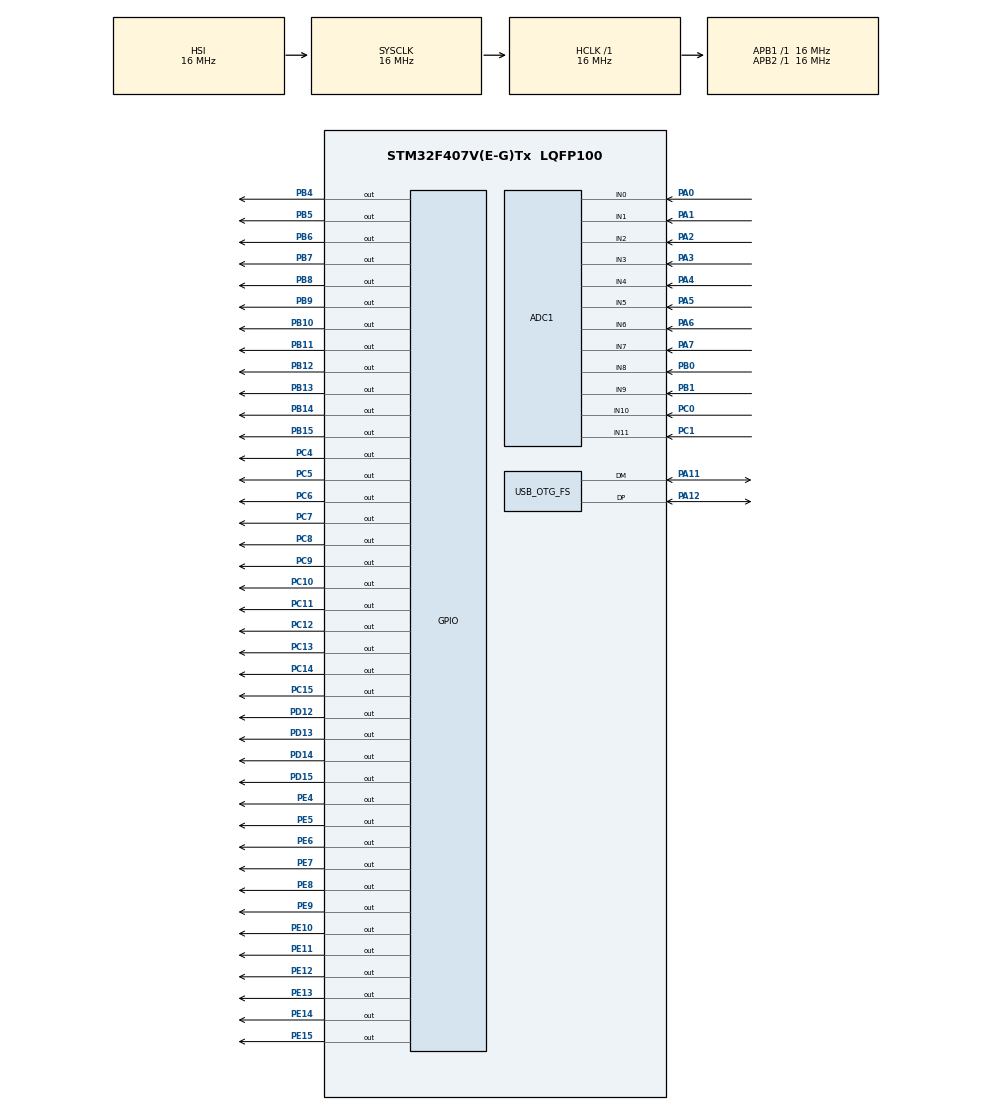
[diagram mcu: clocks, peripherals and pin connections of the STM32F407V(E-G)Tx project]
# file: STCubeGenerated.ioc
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ADC1.Channel-0\#ChannelRegularConversion=ADC_CHANNEL_0
ADC1.Channel-1\#ChannelRegularConversion=ADC_CHANNEL_1
ADC1.ContinuousConvMode=DISABLE
ADC1.DMAContinuousRequests=DISABLE
ADC1.NbrOfConversion=2
ADC1.NbrOfConversionFlag=1
ADC1.Rank-0\#ChannelRegularConversion=1
ADC1.Rank-1\#ChannelRegularConversion=2
ADC1.SamplingTime-0\#ChannelRegularConversion=ADC_SAMPLETIME_3CYCLES
ADC1.SamplingTime-1\#ChannelRegularConversion=ADC_SAMPLETIME_3CYCLES
ADC1.ScanConvMode=ENABLE
ADC1.master=1
ADC2.Channel-0\#ChannelRegularConversion=ADC_CHANNEL_0
ADC2.NbrOfConversionFlag=1
ADC2.Rank-0\#ChannelRegularConversion=1
ADC2.SamplingTime-0\#ChannelRegularConversion=ADC_SAMPLETIME_3CYCLES
Dma.ADC1.0.Direction=DMA_PERIPH_TO_MEMORY
Dma.ADC1.0.FIFOMode=DMA_FIFOMODE_DISABLE
Dma.ADC1.0.Instance=DMA2_Stream0
Dma.ADC1.0.MemDataAlignment=DMA_MDATAALIGN_WORD
Dma.ADC1.0.MemInc=DMA_MINC_ENABLE
Dma.ADC1.0.Mode=DMA_NORMAL
Dma.ADC1.0.PeriphDataAlignment=DMA_PDATAALIGN_WORD
Dma.ADC1.0.PeriphInc=DMA_PINC_DISABLE
Dma.ADC1.0.Priority=DMA_PRIORITY_MEDIUM
Dma.ADC2.1.Direction=DMA_PERIPH_TO_MEMORY
Dma.ADC2.1.FIFOMode=DMA_FIFOMODE_DISABLE
Dma.ADC2.1.Instance=DMA2_Stream2
Dma.ADC2.1.MemDataAlignment=DMA_MDATAALIGN_WORD
Dma.ADC2.1.MemInc=DMA_MINC_DISABLE
Dma.ADC2.1.Mode=DMA_NORMAL
Dma.ADC2.1.PeriphDataAlignment=DMA_PDATAALIGN_WORD
Dma.ADC2.1.PeriphInc=DMA_PINC_DISABLE
Dma.ADC2.1.Priority=DMA_PRIORITY_MEDIUM
Dma.Request0=ADC1
Dma.Request1=ADC2
Mcu.Family=STM32F4
Mcu.Name=STM32F407V(E-G)Tx
Mcu.Package=LQFP100
NVIC.DMA2_Stream0_IRQn=true\:0\:0\:false\:false\:true\:false\:true
NVIC.DMA2_Stream2_IRQn=true\:0\:0\:false\:false\:true\:false\:true
NVIC.OTG_FS_IRQn=true\:0\:0\:false\:false\:true\:false\:true
NVIC.PriorityGroup=NVIC_PRIORITYGROUP_4
PA0-WKUP.Signal=ADCx_IN0
PA1.Signal=ADCx_IN1
PA11.Mode=Device_Only
PA11.Signal=USB_OTG_FS_DM
PA12.Mode=Device_Only
PA12.Signal=USB_OTG_FS_DP
PA2.Signal=ADCx_IN2
PA3.Signal=ADCx_IN3
PA4.Signal=ADCx_IN4
PA5.Signal=ADCx_IN5
PA6.Signal=ADCx_IN6
PA7.Signal=ADCx_IN7
PB0.Signal=ADCx_IN8
PB1.Signal=ADCx_IN9
PB10.Signal=GPIO_Output
PB11.Signal=GPIO_Output
PB12.Signal=GPIO_Output
PB13.Signal=GPIO_Output
PB14.Signal=GPIO_Output
PB15.Signal=GPIO_Output
PB4.Signal=GPIO_Output
PB5.Signal=GPIO_Output
PB6.Signal=GPIO_Output
PB7.Signal=GPIO_Output
PB8.Signal=GPIO_Output
PB9.Signal=GPIO_Output
PC0.Signal=ADCx_IN10
PC1.Signal=ADCx_IN11
PC10.Signal=GPIO_Output
PC11.Signal=GPIO_Output
PC12.Signal=GPIO_Output
PC13-ANTI_TAMP.Signal=GPIO_Output
PC14-OSC32_IN.Signal=GPIO_Output
PC15-OSC32_OUT.Signal=GPIO_Output
PC4.Signal=GPIO_Output
PC5.Signal=GPIO_Output
PC6.Signal=GPIO_Output
PC7.Signal=GPIO_Output
PC8.Signal=GPIO_Output
PC9.Signal=GPIO_Output
PD12.Signal=GPIO_Output
PD13.Signal=GPIO_Output
PD14.Signal=GPIO_Output
PD15.Signal=GPIO_Output
PE10.Signal=GPIO_Output
PE11.Signal=GPIO_Output
PE12.Signal=GPIO_Output
PE13.Signal=GPIO_Output
PE14.Signal=GPIO_Output
PE15.Signal=GPIO_Output
PE4.Signal=GPIO_Output
PE5.Signal=GPIO_Output
PE6.Signal=GPIO_Output
PE7.Signal=GPIO_Output
PE8.Signal=GPIO_Output
PE9.Signal=GPIO_Output
PH0-OSC_IN.Mode=HSE-External-Oscillator
PH0-OSC_IN.Signal=RCC_OSC_IN
PH1-OSC_OUT.Mode=HSE-External-Oscillator
PH1-OSC_OUT.Signal=RCC_OSC_OUT
ProjectManager.HeapSize=0x200
ProjectManager.StackSize=0x400
ProjectManager.TargetToolchain=MDK-ARM V5
RCC.48MHZClocksFreq_Value=48000000
RCC.AHBFreq_Value=16000000
RCC.APB1Freq_Value=16000000
RCC.APB2Freq_Value=16000000
RCC.CortexFreq_Value=16000000
RCC.HSE_VALUE=8000000
RCC.HSI_VALUE=16000000
RCC.LSE_VALUE=32768
RCC.PLLM=4
RCC.PLLN=72
RCC.PLLQ=3
RCC.SYSCLKFreq_VALUE=16000000
RCC.VCOOutputFreq_Value=144000000
SH.ADCx_IN0.0=ADC1_IN0,IN0
SH.ADCx_IN0.1=ADC2_IN0,IN0
SH.ADCx_IN1.0=ADC1_IN1,IN1
SH.ADCx_IN1.1=ADC2_IN1,IN1
SH.ADCx_IN10.0=ADC1_IN10,IN10
SH.ADCx_IN10.1=ADC2_IN10,IN10
SH.ADCx_IN11.0=ADC1_IN11,IN11
SH.ADCx_IN11.1=ADC2_IN11,IN11
SH.ADCx_IN2.0=ADC1_IN2,IN2
SH.ADCx_IN2.1=ADC2_IN2,IN2
SH.ADCx_IN3.0=ADC1_IN3,IN3
SH.ADCx_IN3.1=ADC2_IN3,IN3
SH.ADCx_IN4.0=ADC1_IN4,IN4
SH.ADCx_IN4.1=ADC2_IN4,IN4
SH.ADCx_IN5.0=ADC1_IN5,IN5
SH.ADCx_IN5.1=ADC2_IN5,IN5
SH.ADCx_IN6.0=ADC1_IN6,IN6
SH.ADCx_IN6.1=ADC2_IN6,IN6
SH.ADCx_IN7.0=ADC1_IN7,IN7
SH.ADCx_IN7.1=ADC2_IN7,IN7
SH.ADCx_IN8.0=ADC1_IN8,IN8
SH.ADCx_IN8.1=ADC2_IN8,IN8
SH.ADCx_IN9.0=ADC1_IN9,IN9
SH.ADCx_IN9.1=ADC2_IN9,IN9
USB_DEVICE.APP_RX_DATA_SIZE-CDC_FS=256
USB_DEVICE.APP_TX_DATA_SIZE-CDC_FS=256
USB_DEVICE.CLASS_NAME_FS=CDC
USB_DEVICE.USBD_MAX_STR_DESC_SIZ-CDC_FS=1024
USB_DEVICE.VirtualMode-CDC_FS=Cdc
USB_DEVICE.VirtualModeFS=Cdc_FS
USB_OTG_FS.VirtualMode=Device_Only
VP_USB_DEVICE_VS_USB_DEVICE_CDC_FS.Mode=CDC_FS
board=custom

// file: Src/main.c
/* USER CODE BEGIN Header */
/**
  ******************************************************************************
  * @file           : main.c
  * @brief          : Main program body
  ******************************************************************************
  * @attention
  *
  * <h2><center>&copy; Copyright (c) 2019 STMicroelectronics.
  * All rights reserved.</center></h2>
  *
  * This software component is licensed by ST under Ultimate Liberty license
  * SLA0044, the "License"; You may not use this file except in compliance with
  * the License. You may obtain a copy of the License at:
  *                             www.st.com/SLA0044
  *
  ******************************************************************************
  */
/* USER CODE END Header */

#include "main.h"
#include <stdio.h>
#include "usb_device.h"

ADC_HandleTypeDef hadc1;
ADC_HandleTypeDef hadc2;
DMA_HandleTypeDef hdma_adc1;
DMA_HandleTypeDef hdma_adc2;

/* USER CODE BEGIN PV */
uint32_t adc1Value[2];
uint32_t adc2Value[2];
uint32_t adcValueForSend[3];

char str_tx[30];
//uint32_t adc1Value_16[2];
/* USER CODE END PV */

void SystemClock_Config(void);
static void MX_GPIO_Init(void);
static void MX_DMA_Init(void);
static void MX_ADC1_Init(void);
static void MX_ADC2_Init(void);
/* USER CODE BEGIN PFP */
void Delay(uint32_t Val);
void changeChannel(uint32_t ch, uint32_t pin);
uint8_t CDC_Transmit_FS(uint8_t* Buf, uint16_t Len);
void changeCoupling(uint32_t pin, uint32_t coup);
void changeProbe(uint32_t pin, uint32_t probe);
void applySettings(uint8_t* settings);
/* USER CODE END PFP */

/* USER CODE BEGIN 0 */
#define ITM_Port8(n) (*((volatile unsigned char *)(0xE0000000+4*n)))
#define ITM_Port16(n) (*((volatile unsigned short *)(0xE0000000+4*n)))
#define ITM_Port32(n) (*((volatile unsigned long *)(0xE0000000+4*n)))

#define DEMCR (*((volatile unsigned long *)(0xE000EDFC)))
#define TRCENA 0x01000000

struct __FILE{int handle;};
FILE __stdout;
FILE __stdin;

int fputc(int ch, FILE *f){
	if (DEMCR & TRCENA){
		while (ITM_Port32(0) == 0);
		ITM_Port8(0) = ch;
	}
	return(ch);
}
/* USER CODE END 0 */

int main(void)
{

  /* MCU Configuration--------------------------------------------------------*/

  /* Reset of all peripherals, Initializes the Flash interface and the Systick. */
  HAL_Init();

  /* Configure the system clock */
  SystemClock_Config();

  /* Initialize all configured peripherals */
  MX_GPIO_Init();
  MX_DMA_Init();
  MX_ADC1_Init();
  MX_ADC2_Init();
  MX_USB_DEVICE_Init();
  /* USER CODE BEGIN 2 */
	char h[4] = "0000";
//	HAL_ADC_Start_DMA(&hadc1, adc1Value, 2);
	printf("0000-%d\n\r", h[0]);
  uint8_t is_transmission_on = 0;
  /* USER CODE END 2 */

  /* Infinite loop */
  /* USER CODE BEGIN WHILE */
	changeChannel(0, 8);
	changeChannel(1, 9);
	changeChannel(2, 10);
	changeChannel(3, 11);
  while (1)
  {
		//HAL_GPIO_WritePin(GPIOD, GPIO_PIN_14, GPIO_PIN_SET);

		//MX_USB_DEVICE_Init();
//		while(1)
//		{
		//HAL_GPIO_WritePin(GPIOD, GPIO_PIN_12, GPIO_PIN_SET);
		//HAL_Delay(100);
		//HAL_GPIO_WritePin(GPIOD, GPIO_PIN_12, GPIO_PIN_RESET);
		//HAL_Delay(100);
//		};
//		if (is_transmission_on == 0)
//		{
//			continue;
//		}
		HAL_Delay(1);

//		adc1Value_16[0]=adc1Value[0];
//		adc1Value_16[1]=adc1Value[1];
		HAL_ADC_Start_DMA(&hadc1, adc1Value, 2);
		HAL_ADC_ConvCpltCallback(&hadc1);
		HAL_ADC_ConvCpltCallback(&hadc1);
		HAL_ADC_Stop_DMA(&hadc1);
		HAL_ADC_Start_DMA(&hadc2, adc2Value, 2);
		HAL_ADC_ConvCpltCallback(&hadc2);
		HAL_ADC_ConvCpltCallback(&hadc2);
		HAL_ADC_Stop_DMA(&hadc2);

//		if (adc1Value[0] > adc2Value[1]){
//			adc2Value[0] = adc1Value[0] - adc2Value[1];
//		}
//		else{
//			adc2Value[0] = adc2Value[1] - adc2Value[0];
//			adc2Value[0] += 32768;
//		}

		adcValueForSend[0] = adc1Value[0];
		adcValueForSend[1] = adc2Value[0];
		adcValueForSend[0] += adc1Value[1]*65536;
		adcValueForSend[1] += adc2Value[1]*65536;
		//adcValueForSend[2] = 1;

//		CDC_Transmit_FS((uint8_t*)str_tx, strlen(str_tx));
		CDC_Transmit_FS((uint8_t*)adcValueForSend, 8);
//		if (adc1Value[0]<0x333){
//			GPIOD->ODR = 0x0000;
//		} else if (adc1Value[1]<0x666){
//			GPIOD->ODR = 0x1000;
//		} else if (adc1Value[1]<0x999){
//			GPIOD->ODR = 0x3000;
//		} else if (adc1Value[1]<0xCCC){
//			GPIOD->ODR = 0x7000;
//		} else GPIOD->ODR = 0xf000;

    /* USER CODE END WHILE */

    /* USER CODE BEGIN 3 */
  }
	int a = 0;
  /* USER CODE END 3 */
}

void SystemClock_Config(void)
{
  RCC_OscInitTypeDef RCC_OscInitStruct = {0};
  RCC_ClkInitTypeDef RCC_ClkInitStruct = {0};

  /** Configure the main internal regulator output voltage
  */
  __HAL_RCC_PWR_CLK_ENABLE();
  __HAL_PWR_VOLTAGESCALING_CONFIG(PWR_REGULATOR_VOLTAGE_SCALE1);
  /** Initializes the CPU, AHB and APB busses clocks
  */
  RCC_OscInitStruct.OscillatorType = RCC_OSCILLATORTYPE_HSI|RCC_OSCILLATORTYPE_HSE;
  RCC_OscInitStruct.HSEState = RCC_HSE_ON;
  RCC_OscInitStruct.HSIState = RCC_HSI_ON;
  RCC_OscInitStruct.HSICalibrationValue = RCC_HSICALIBRATION_DEFAULT;
  RCC_OscInitStruct.PLL.PLLState = RCC_PLL_ON;
  RCC_OscInitStruct.PLL.PLLSource = RCC_PLLSOURCE_HSE;
  RCC_OscInitStruct.PLL.PLLM = 4;
  RCC_OscInitStruct.PLL.PLLN = 72;
  RCC_OscInitStruct.PLL.PLLP = RCC_PLLP_DIV2;
  RCC_OscInitStruct.PLL.PLLQ = 3;
  if (HAL_RCC_OscConfig(&RCC_OscInitStruct) != HAL_OK)
  {
    Error_Handler();
  }
  /** Initializes the CPU, AHB and APB busses clocks
  */
  RCC_ClkInitStruct.ClockType = RCC_CLOCKTYPE_HCLK|RCC_CLOCKTYPE_SYSCLK
                              |RCC_CLOCKTYPE_PCLK1|RCC_CLOCKTYPE_PCLK2;
  RCC_ClkInitStruct.SYSCLKSource = RCC_SYSCLKSOURCE_HSI;
  RCC_ClkInitStruct.AHBCLKDivider = RCC_SYSCLK_DIV1;
  RCC_ClkInitStruct.APB1CLKDivider = RCC_HCLK_DIV1;
  RCC_ClkInitStruct.APB2CLKDivider = RCC_HCLK_DIV1;

  if (HAL_RCC_ClockConfig(&RCC_ClkInitStruct, FLASH_LATENCY_0) != HAL_OK)
  {
    Error_Handler();
  }
}

static void MX_ADC1_Init(void)
{

  ADC_ChannelConfTypeDef sConfig = {0};

  /** Configure the global features of the ADC (Clock, Resolution, Data Alignment and number of conversion)
  */
  hadc1.Instance = ADC1;
  hadc1.Init.ClockPrescaler = ADC_CLOCK_SYNC_PCLK_DIV2;
  hadc1.Init.Resolution = ADC_RESOLUTION_12B;
  hadc1.Init.ScanConvMode = ENABLE;
  hadc1.Init.ContinuousConvMode = DISABLE;
  hadc1.Init.DiscontinuousConvMode = DISABLE;
  hadc1.Init.ExternalTrigConvEdge = ADC_EXTERNALTRIGCONVEDGE_NONE;
  hadc1.Init.ExternalTrigConv = ADC_SOFTWARE_START;
  hadc1.Init.DataAlign = ADC_DATAALIGN_RIGHT;
  hadc1.Init.NbrOfConversion = 2;
  hadc1.Init.DMAContinuousRequests = DISABLE;
  hadc1.Init.EOCSelection = ADC_EOC_SINGLE_CONV;
  if (HAL_ADC_Init(&hadc1) != HAL_OK)
  {
    Error_Handler();
  }
  /** Configure for the selected ADC regular channel its corresponding rank in the sequencer and its sample time.
  */
  sConfig.Channel = ADC_CHANNEL_0;
  sConfig.Rank = 1;
  sConfig.SamplingTime = ADC_SAMPLETIME_3CYCLES;
  if (HAL_ADC_ConfigChannel(&hadc1, &sConfig) != HAL_OK)
  {
    Error_Handler();
  }
  /** Configure for the selected ADC regular channel its corresponding rank in the sequencer and its sample time.
  */
  sConfig.Channel = ADC_CHANNEL_3;
  sConfig.Rank = 2;
  if (HAL_ADC_ConfigChannel(&hadc1, &sConfig) != HAL_OK)
  {
    Error_Handler();
  }

}

static void MX_ADC2_Init(void)
{

  ADC_ChannelConfTypeDef sConfig = {0};

  /** Configure the global features of the ADC (Clock, Resolution, Data Alignment and number of conversion)
  */
  hadc2.Instance = ADC2;
  hadc2.Init.ClockPrescaler = ADC_CLOCK_SYNC_PCLK_DIV2;
  hadc2.Init.Resolution = ADC_RESOLUTION_12B;
  hadc2.Init.ScanConvMode = ENABLE;
  hadc2.Init.ContinuousConvMode = DISABLE;
  hadc2.Init.DiscontinuousConvMode = DISABLE;
  hadc2.Init.ExternalTrigConvEdge = ADC_EXTERNALTRIGCONVEDGE_NONE;
  hadc2.Init.ExternalTrigConv = ADC_SOFTWARE_START;
  hadc2.Init.DataAlign = ADC_DATAALIGN_RIGHT;
  hadc2.Init.NbrOfConversion = 2;
  hadc2.Init.DMAContinuousRequests = DISABLE;
  hadc2.Init.EOCSelection = ADC_EOC_SINGLE_CONV;
  if (HAL_ADC_Init(&hadc2) != HAL_OK)
  {
    Error_Handler();
  }
  /** Configure for the selected ADC regular channel its corresponding rank in the sequencer and its sample time.
  */
  sConfig.Channel = ADC_CHANNEL_7;
  sConfig.Rank = 1;
  sConfig.SamplingTime = ADC_SAMPLETIME_3CYCLES;
  if (HAL_ADC_ConfigChannel(&hadc2, &sConfig) != HAL_OK)
  {
    Error_Handler();
  }
  /* USER CODE BEGIN ADC2_Init 2 */
	sConfig.Channel = ADC_CHANNEL_11;
  sConfig.Rank = 2;
  if (HAL_ADC_ConfigChannel(&hadc2, &sConfig) != HAL_OK)
  {
    Error_Handler();
  }
  /* USER CODE END ADC2_Init 2 */

}

static void MX_DMA_Init(void)
{
  /* DMA controller clock enable */
  __HAL_RCC_DMA2_CLK_ENABLE();

  /* DMA interrupt init */
  /* DMA2_Stream0_IRQn interrupt configuration */
  HAL_NVIC_SetPriority(DMA2_Stream0_IRQn, 0, 0);
  HAL_NVIC_EnableIRQ(DMA2_Stream0_IRQn);
  /* DMA2_Stream2_IRQn interrupt configuration */
  HAL_NVIC_SetPriority(DMA2_Stream2_IRQn, 0, 0);
  HAL_NVIC_EnableIRQ(DMA2_Stream2_IRQn);

}

static void MX_GPIO_Init(void)
{
  GPIO_InitTypeDef GPIO_InitStruct = {0};

  /* GPIO Ports Clock Enable */
  __HAL_RCC_GPIOE_CLK_ENABLE();
  __HAL_RCC_GPIOC_CLK_ENABLE();
  __HAL_RCC_GPIOH_CLK_ENABLE();
  __HAL_RCC_GPIOA_CLK_ENABLE();
  __HAL_RCC_GPIOB_CLK_ENABLE();
  __HAL_RCC_GPIOD_CLK_ENABLE();

  /*Configure GPIO pin Output Level */
  HAL_GPIO_WritePin(GPIOE, GPIO_PIN_4|GPIO_PIN_5|GPIO_PIN_6|GPIO_PIN_7
                          |GPIO_PIN_8|GPIO_PIN_9|GPIO_PIN_10|GPIO_PIN_11
                          |GPIO_PIN_12|GPIO_PIN_13|GPIO_PIN_14|GPIO_PIN_15, GPIO_PIN_RESET);

  /*Configure GPIO pin Output Level */
  HAL_GPIO_WritePin(GPIOC, GPIO_PIN_13|GPIO_PIN_14|GPIO_PIN_15|GPIO_PIN_4
                          |GPIO_PIN_5|GPIO_PIN_6|GPIO_PIN_7|GPIO_PIN_8
                          |GPIO_PIN_9|GPIO_PIN_10|GPIO_PIN_11|GPIO_PIN_12, GPIO_PIN_RESET);

  /*Configure GPIO pin Output Level */
  HAL_GPIO_WritePin(GPIOB, GPIO_PIN_10|GPIO_PIN_11|GPIO_PIN_12|GPIO_PIN_13
                          |GPIO_PIN_14|GPIO_PIN_15|GPIO_PIN_4|GPIO_PIN_5
                          |GPIO_PIN_6|GPIO_PIN_7|GPIO_PIN_8|GPIO_PIN_9, GPIO_PIN_RESET);

  /*Configure GPIO pin Output Level */
  HAL_GPIO_WritePin(GPIOD, GPIO_PIN_12|GPIO_PIN_13|GPIO_PIN_14|GPIO_PIN_15, GPIO_PIN_RESET);

  /*Configure GPIO pins : PE4 PE5 PE6 PE7
                           PE8 PE9 PE10 PE11
                           PE12 PE13 PE14 PE15 */
  GPIO_InitStruct.Pin = GPIO_PIN_4|GPIO_PIN_5|GPIO_PIN_6|GPIO_PIN_7
                          |GPIO_PIN_8|GPIO_PIN_9|GPIO_PIN_10|GPIO_PIN_11
                          |GPIO_PIN_12|GPIO_PIN_13|GPIO_PIN_14|GPIO_PIN_15;
  GPIO_InitStruct.Mode = GPIO_MODE_OUTPUT_PP;
  GPIO_InitStruct.Pull = GPIO_NOPULL;
  GPIO_InitStruct.Speed = GPIO_SPEED_FREQ_LOW;
  HAL_GPIO_Init(GPIOE, &GPIO_InitStruct);

  /*Configure GPIO pins : PC13 PC14 PC15 PC4
                           PC5 PC6 PC7 PC8
                           PC9 PC10 PC11 PC12 */
  GPIO_InitStruct.Pin = GPIO_PIN_13|GPIO_PIN_14|GPIO_PIN_15|GPIO_PIN_4
                          |GPIO_PIN_5|GPIO_PIN_6|GPIO_PIN_7|GPIO_PIN_8
                          |GPIO_PIN_9|GPIO_PIN_10|GPIO_PIN_11|GPIO_PIN_12;
  GPIO_InitStruct.Mode = GPIO_MODE_OUTPUT_PP;
  GPIO_InitStruct.Pull = GPIO_NOPULL;
  GPIO_InitStruct.Speed = GPIO_SPEED_FREQ_LOW;
  HAL_GPIO_Init(GPIOC, &GPIO_InitStruct);

  /*Configure GPIO pins : PB10 PB11 PB12 PB13
                           PB14 PB15 PB4 PB5
                           PB6 PB7 PB8 PB9 */
  GPIO_InitStruct.Pin = GPIO_PIN_10|GPIO_PIN_11|GPIO_PIN_12|GPIO_PIN_13
                          |GPIO_PIN_14|GPIO_PIN_15|GPIO_PIN_4|GPIO_PIN_5
                          |GPIO_PIN_6|GPIO_PIN_7|GPIO_PIN_8|GPIO_PIN_9;
  GPIO_InitStruct.Mode = GPIO_MODE_OUTPUT_PP;
  GPIO_InitStruct.Pull = GPIO_NOPULL;
  GPIO_InitStruct.Speed = GPIO_SPEED_FREQ_LOW;
  HAL_GPIO_Init(GPIOB, &GPIO_InitStruct);

  /*Configure GPIO pins : PD12 PD13 PD14 PD15 */
  GPIO_InitStruct.Pin = GPIO_PIN_12|GPIO_PIN_13|GPIO_PIN_14|GPIO_PIN_15;
  GPIO_InitStruct.Mode = GPIO_MODE_OUTPUT_PP;
  GPIO_InitStruct.Pull = GPIO_NOPULL;
  GPIO_InitStruct.Speed = GPIO_SPEED_FREQ_LOW;
  HAL_GPIO_Init(GPIOD, &GPIO_InitStruct);

}

/* USER CODE BEGIN 4 */
void Delay(uint32_t Val)
{
	for (; Val != 0; Val--);
}

void changeChannel(uint32_t ch, uint32_t pin)
{
	ADC_ChannelConfTypeDef sConfig = {0};
	ADC_HandleTypeDef* this_hadc;
	sConfig.SamplingTime = ADC_SAMPLETIME_3CYCLES;
	switch (ch)
	{
		case 0:
		{
			sConfig.Rank = 1;
			this_hadc = &hadc1;
			break;
		}
		case 1:
		{
			sConfig.Rank = 2;
			this_hadc = &hadc1;
			break;
		}
		case 2:
		{
			sConfig.Rank = 1;
			this_hadc = &hadc2;
			break;
		}
		case 3:
		{
			sConfig.Rank = 2;
			this_hadc = &hadc2;
			break;
		}
	}
	switch (pin)
	{
		case 0:
		{
			sConfig.Channel = ADC_CHANNEL_0;
			break;
		}
		case 1:
		{
			sConfig.Channel = ADC_CHANNEL_1;
			break;
		}
		case 2:
		{
			sConfig.Channel = ADC_CHANNEL_2;
			break;
		}
		case 3:
		{
			sConfig.Channel = ADC_CHANNEL_3;
			break;
		}
		case 4:
		{
			sConfig.Channel = ADC_CHANNEL_4;
			break;
		}
		case 5:
		{
			sConfig.Channel = ADC_CHANNEL_5;
			break;
		}
		case 6:
		{
			sConfig.Channel = ADC_CHANNEL_6;
			break;
		}
		case 7:
		{
			sConfig.Channel = ADC_CHANNEL_7;
			break;
		}
		case 8:
		{
			sConfig.Channel = ADC_CHANNEL_8;
			break;
		}
		case 9:
		{
			sConfig.Channel = ADC_CHANNEL_9;
			break;
		}
		case 10:
		{
			sConfig.Channel = ADC_CHANNEL_10;
			break;
		}
		case 11:
		{
			sConfig.Channel = ADC_CHANNEL_11;
			break;
		}
	}
	if (HAL_ADC_ConfigChannel(this_hadc, &sConfig) != HAL_OK)
  {
    Error_Handler();
  }
}
void changeProbe(uint32_t pin, uint32_t probe) // probe is 0, 1, 2 or 3
{
	uint32_t* dprobe;
	pin = pin + 4;
	switch (probe)
	{
		case 0:{
			dprobe[0] = 0; dprobe[1] = 0;
			break;
		}
		case 1:{
			dprobe[0] = 0; dprobe[1] = 1;
			break;
		}
		case 2:{
			dprobe[0] = 1; dprobe[1] = 0;
			break;
		}
		case 3:{
			dprobe[0] = 1; dprobe[1] = 1;
			break;
		}
	}
	switch (pin)
	{
		case 4:{
			HAL_GPIO_WritePin(GPIOC, GPIO_PIN_4, dprobe[1]);
			HAL_GPIO_WritePin(GPIOE, GPIO_PIN_4, dprobe[0]);
			break;
		}
		case 5:{
			HAL_GPIO_WritePin(GPIOC, GPIO_PIN_5, dprobe[1]);
			HAL_GPIO_WritePin(GPIOE, GPIO_PIN_5, dprobe[0]);
			break;
		}
		case 6:{
			HAL_GPIO_WritePin(GPIOC, GPIO_PIN_6, dprobe[1]);
			HAL_GPIO_WritePin(GPIOE, GPIO_PIN_6, dprobe[0]);
			break;
		}
		case 7:{
			HAL_GPIO_WritePin(GPIOC, GPIO_PIN_7, dprobe[1]);
			HAL_GPIO_WritePin(GPIOE, GPIO_PIN_7, dprobe[0]);
			break;
		}
		case 8:{
			HAL_GPIO_WritePin(GPIOC, GPIO_PIN_8, dprobe[1]);
			HAL_GPIO_WritePin(GPIOE, GPIO_PIN_8, dprobe[0]);
			break;
		}
		case 9:{
			HAL_GPIO_WritePin(GPIOC, GPIO_PIN_9, dprobe[1]);
			HAL_GPIO_WritePin(GPIOE, GPIO_PIN_9, dprobe[0]);
			break;
		}
		case 10:{
			HAL_GPIO_WritePin(GPIOC, GPIO_PIN_10, dprobe[1]);
			HAL_GPIO_WritePin(GPIOE, GPIO_PIN_10, dprobe[0]);
			break;
		}
		case 11:{
			HAL_GPIO_WritePin(GPIOC, GPIO_PIN_11, dprobe[1]);
			HAL_GPIO_WritePin(GPIOE, GPIO_PIN_11, dprobe[0]);
			break;
		}
		case 12:{
			HAL_GPIO_WritePin(GPIOC, GPIO_PIN_12, dprobe[1]);
			HAL_GPIO_WritePin(GPIOE, GPIO_PIN_12, dprobe[0]);
			break;
		}
		case 13:{
			HAL_GPIO_WritePin(GPIOC, GPIO_PIN_13, dprobe[1]);
			HAL_GPIO_WritePin(GPIOE, GPIO_PIN_13, dprobe[0]);
			break;
		}
		case 14:{
			HAL_GPIO_WritePin(GPIOC, GPIO_PIN_14, dprobe[1]);
			HAL_GPIO_WritePin(GPIOE, GPIO_PIN_14, dprobe[0]);
			break;
		}
		case 15:{
			HAL_GPIO_WritePin(GPIOC, GPIO_PIN_15, dprobe[1]);
			HAL_GPIO_WritePin(GPIOE, GPIO_PIN_15, dprobe[0]);
			break;
		}
	}
}

void changeCoupling(uint32_t pin, uint32_t coup)
{
	pin = pin + 4;
	switch (pin)
	{
		case 4:{
			HAL_GPIO_WritePin(GPIOB, GPIO_PIN_4, coup);
			break;
		}
		case 5:{
			HAL_GPIO_WritePin(GPIOB, GPIO_PIN_5, coup);
			break;
		}
		case 6:{
			HAL_GPIO_WritePin(GPIOB, GPIO_PIN_6, coup);
			break;
		}
		case 7:{
			HAL_GPIO_WritePin(GPIOB, GPIO_PIN_7, coup);
			break;
		}
		case 8:{
			HAL_GPIO_WritePin(GPIOB, GPIO_PIN_8, coup);
			break;
		}
		case 9:{
			HAL_GPIO_WritePin(GPIOB, GPIO_PIN_9, coup);
			break;
		}
		case 10:{
			HAL_GPIO_WritePin(GPIOB, GPIO_PIN_10, coup);
			break;
		}
		case 11:{
			HAL_GPIO_WritePin(GPIOB, GPIO_PIN_11, coup);
			break;
		}
		case 12:{
			HAL_GPIO_WritePin(GPIOB, GPIO_PIN_12, coup);
			break;
		}
		case 13:{
			HAL_GPIO_WritePin(GPIOB, GPIO_PIN_13, coup);
			break;
		}
		case 14:{
			HAL_GPIO_WritePin(GPIOB, GPIO_PIN_14, coup);
			break;
		}
		case 15:{
			HAL_GPIO_WritePin(GPIOB, GPIO_PIN_15, coup);
			break;
		}
	}
}

void applySettings(uint8_t* settings)
{
	if (settings[0] == NULL || settings[1] == NULL || settings[2] == NULL || settings[3] == NULL)
	{
		return;
	}
	uint8_t s, pin, probe, coupling;
	for (uint32_t ch = 0; ch<4; ch++)
	{
		s = settings[ch];
		pin = (uint8_t)(s / 16);
		s = s - pin*16;
		probe = (uint8_t)(s / 4);
		s = s - probe * 4;
		coupling = (uint8_t)(s / 2);
		changeChannel(ch, pin);
		changeProbe(pin, probe);
		changeCoupling(pin, coupling);
		settings[ch] = NULL;
	}
}

/* USER CODE END 4 */

void Error_Handler(void)
{
}

/************************ (C) COPYRIGHT STMicroelectronics *****END OF FILE****/
